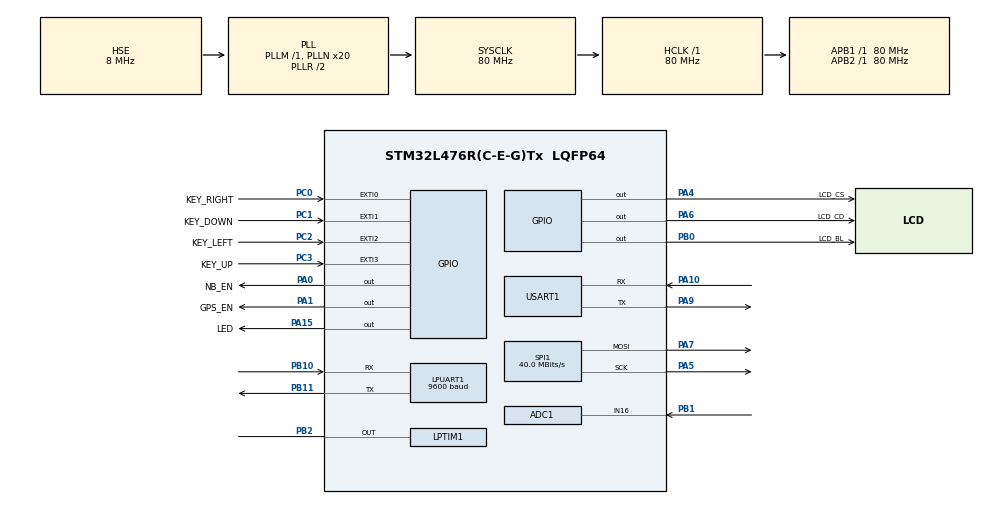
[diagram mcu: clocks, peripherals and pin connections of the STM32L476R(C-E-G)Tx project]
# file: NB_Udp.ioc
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ADC1.Channel-2\#ChannelRegularConversion=ADC_CHANNEL_16
ADC1.NbrOfConversionFlag=1
ADC1.OffsetNumber-2\#ChannelRegularConversion=ADC_OFFSET_NONE
ADC1.Rank-2\#ChannelRegularConversion=1
ADC1.SamplingTime-2\#ChannelRegularConversion=ADC_SAMPLETIME_2CYCLES_5
ADC1.master=1
Dma.LPUART_RX.0.Direction=DMA_PERIPH_TO_MEMORY
Dma.LPUART_RX.0.Instance=DMA2_Channel7
Dma.LPUART_RX.0.MemDataAlignment=DMA_MDATAALIGN_HALFWORD
Dma.LPUART_RX.0.MemInc=DMA_MINC_ENABLE
Dma.LPUART_RX.0.Mode=DMA_CIRCULAR
Dma.LPUART_RX.0.PeriphDataAlignment=DMA_PDATAALIGN_HALFWORD
Dma.LPUART_RX.0.PeriphInc=DMA_PINC_DISABLE
Dma.LPUART_RX.0.Priority=DMA_PRIORITY_LOW
Dma.LPUART_TX.1.Direction=DMA_MEMORY_TO_PERIPH
Dma.LPUART_TX.1.Instance=DMA2_Channel6
Dma.LPUART_TX.1.MemDataAlignment=DMA_MDATAALIGN_BYTE
Dma.LPUART_TX.1.MemInc=DMA_MINC_ENABLE
Dma.LPUART_TX.1.Mode=DMA_NORMAL
Dma.LPUART_TX.1.PeriphDataAlignment=DMA_PDATAALIGN_BYTE
Dma.LPUART_TX.1.PeriphInc=DMA_PINC_DISABLE
Dma.LPUART_TX.1.Priority=DMA_PRIORITY_LOW
Dma.Request0=LPUART_RX
Dma.Request1=LPUART_TX
LPUART1.BaudRate=9600
LPUART1.WordLength=UART_WORDLENGTH_8B
Mcu.Family=STM32L4
Mcu.Name=STM32L476R(C-E-G)Tx
Mcu.Package=LQFP64
NVIC.DMA2_Channel6_IRQn=true\:6\:0\:true\:false\:true\:false
NVIC.DMA2_Channel7_IRQn=true\:6\:0\:true\:false\:true\:false
NVIC.EXTI0_IRQn=true\:5\:0\:true\:false\:true\:true
NVIC.EXTI1_IRQn=true\:5\:0\:true\:false\:true\:true
NVIC.EXTI2_IRQn=true\:5\:0\:true\:false\:true\:true
NVIC.EXTI3_IRQn=true\:5\:0\:true\:false\:true\:true
NVIC.LPUART1_IRQn=true\:6\:0\:true\:false\:true\:true
NVIC.PriorityGroup=NVIC_PRIORITYGROUP_4
PA0.GPIO_Label=NB_EN
PA0.GPIO_PuPd=GPIO_PULLUP
PA0.Signal=GPIO_Output
PA1.GPIO_Label=GPS_EN
PA1.GPIO_PuPd=GPIO_PULLUP
PA1.PinState=GPIO_PIN_SET
PA1.Signal=GPIO_Output
PA10.Mode=Asynchronous
PA10.Signal=USART1_RX
PA13\ (JTMS-SWDIO).Mode=Serial_Wire
PA13\ (JTMS-SWDIO).Signal=SYS_JTMS-SWDIO
PA14\ (JTCK-SWCLK).Mode=Serial_Wire
PA14\ (JTCK-SWCLK).Signal=SYS_JTCK-SWCLK
PA15\ (JTDI).GPIO_Label=LED
PA15\ (JTDI).GPIO_PuPd=GPIO_PULLUP
PA15\ (JTDI).Signal=GPIO_Output
PA4.GPIO_Label=LCD_CS
PA4.GPIO_PuPd=GPIO_PULLUP
PA4.Signal=GPIO_Output
PA5.Mode=TX_Only_Simplex_Unidirect_Master
PA5.Signal=SPI1_SCK
PA6.GPIO_Label=LCD_CD
PA6.GPIO_PuPd=GPIO_PULLUP
PA6.PinState=GPIO_PIN_RESET
PA6.Signal=GPIO_Output
PA7.Mode=TX_Only_Simplex_Unidirect_Master
PA7.Signal=SPI1_MOSI
PA9.Mode=Asynchronous
PA9.Signal=USART1_TX
PB0.GPIO_Label=LCD_BL
PB0.GPIO_PuPd=GPIO_PULLUP
PB0.Signal=GPIO_Output
PB1.Signal=ADCx_IN16
PB10.Mode=Asynchronous
PB10.Signal=LPUART1_RX
PB11.Mode=Asynchronous
PB11.Signal=LPUART1_TX
PB2.Mode=WaveformGeneration
PB2.Signal=LPTIM1_OUT
PC0.GPIO_Label=KEY_RIGHT
PC0.GPIO_ModeDefaultEXTI=GPIO_MODE_IT_FALLING
PC0.GPIO_PuPd=GPIO_PULLUP
PC0.Signal=GPXTI0
PC1.GPIO_Label=KEY_DOWN
PC1.GPIO_ModeDefaultEXTI=GPIO_MODE_IT_FALLING
PC1.GPIO_PuPd=GPIO_PULLUP
PC1.Signal=GPXTI1
PC14-OSC32_IN\ (PC14).Mode=LSE-External-Oscillator
PC14-OSC32_IN\ (PC14).Signal=RCC_OSC32_IN
PC15-OSC32_OUT\ (PC15).Mode=LSE-External-Oscillator
PC15-OSC32_OUT\ (PC15).Signal=RCC_OSC32_OUT
PC2.GPIO_Label=KEY_LEFT
PC2.GPIO_ModeDefaultEXTI=GPIO_MODE_IT_FALLING
PC2.GPIO_PuPd=GPIO_PULLUP
PC2.Signal=GPXTI2
PC3.GPIO_Label=KEY_UP
PC3.GPIO_ModeDefaultEXTI=GPIO_MODE_IT_FALLING
PC3.GPIO_PuPd=GPIO_PULLUP
PC3.Signal=GPXTI3
PH0-OSC_IN\ (PH0).Mode=HSE-External-Oscillator
PH0-OSC_IN\ (PH0).Signal=RCC_OSC_IN
PH1-OSC_OUT\ (PH1).Mode=HSE-External-Oscillator
PH1-OSC_OUT\ (PH1).Signal=RCC_OSC_OUT
ProjectManager.HeapSize=0x1000
ProjectManager.StackSize=0x1000
ProjectManager.TargetToolchain=EWARM V7
RCC.ADCFreq_Value=32000000
RCC.AHBFreq_Value=80000000
RCC.APB1Freq_Value=80000000
RCC.APB1TimFreq_Value=80000000
RCC.APB2Freq_Value=80000000
RCC.APB2TimFreq_Value=80000000
RCC.CortexFreq_Value=80000000
RCC.HCLKFreq_Value=80000000
RCC.HSE_VALUE=8000000
RCC.HSI_VALUE=16000000
RCC.LPUART1CLockSelection=RCC_LPUART1CLKSOURCE_LSE
RCC.MSI_VALUE=4000000
RCC.PLLN=20
RCC.PLLSourceVirtual=RCC_PLLSOURCE_HSE
RCC.SYSCLKFreq_VALUE=80000000
RCC.SYSCLKSource=RCC_SYSCLKSOURCE_PLLCLK
RCC.USBFreq_Value=32000000
RCC.VCOOutputFreq_Value=160000000
SH.ADCx_IN16.0=ADC1_IN16,IN16-Single-Ended
SPI1.CalculateBaudRate=40.0 MBits/s
SPI1.DataSize=SPI_DATASIZE_8BIT
SPI1.Direction=SPI_DIRECTION_2LINES
SPI1.Mode=SPI_MODE_MASTER
SPI1.VirtualType=VM_MASTER
USART1.VirtualMode-Asynchronous=VM_ASYNC
USART1.WordLength=WORDLENGTH_8B
VP_LPTIM1_VS_LPTIM_counterModeInternalClock.Mode=Counts__internal_clock_event_00
board=NB_Attach_Detach

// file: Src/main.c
/**
  ******************************************************************************
  * File Name          : main.c
  * Description        : Main program body
  ******************************************************************************
  */

#include "main.h"
#include "stm32l4xx_hal.h"
#include "adc.h"
#include "dma.h"
#include "lptim.h"
#include "usart.h"
#include "spi.h"
#include "gpio.h"
#include "json_format.h"

/* USER CODE BEGIN Includes */
#include "Display.h"
#include "DisplayTFT128.h"
#include "TFT128.h"

#include "led_blink.h"
#include "key_handle.h"

#include "NB_Board.h"
#include "NB_BC95.h"
#include "NB_Board_Cfg.h"
#include "timer_user_poll.h"

/* USER CODE END Includes */

/* USER CODE BEGIN PV */
/* Private variables ---------------------------------------------------------*/

#define LCD_FIRST_LINE  2

#define LCD_LAST_LINE   7

#define JSON_BUF_LEN    100

typedef enum
{
  NB_NONE,
  NB_INIT,          // 初始化操作
  NB_MODULE,        // 获取NB模块厂商及固件，频段等信息
  NB_SIGN,
  NB_UDP_CR,        // 创建UDP
  NB_UDP_CL,        // 关闭UDP
  NB_UDP_REG,       // 此状态用于注册谷雨云平台信息（如果不与谷雨云平台通信，可忽略）
  NB_UDP_ST,        // 利用已经创建的UDP发送数据
  NB_UDP_RE,        // UDP接收信息
  NB_CoAP_SEVER,    // CoAP远程地址设置与获取
  NB_CoAP_ST,       // 利用CoAP发送消息
  NB_CoAP_RE,       // CoAP返回信息
  NB_RESET,         // 复位NB
  NB_END
}NB_STATE_e;

volatile NB_STATE_e  APP_STATE= NB_NONE;
int NB_MsgreportCb(msg_types_t,int ,char*);

uint8_t* NB_Module_IMEI = NULL;

//记录NB模块初始化流程顺序
#define  NB_SEQ_INIT        0x01
#define  NB_SEQ_UDP_CR      0X02
#define  NB_SET_UDP_REG     0x04

uint8_t  seq_record = 0; //标志登记变量

//管理json数据  光强数据
typedef struct
{
	char json_buf[JSON_BUF_LEN];  //用于存放json格式数据
	uint16_t json_len;            //有效数据长度
}json_info_t;

json_info_t json_info;

// 是否开启呼吸灯
uint8_t  is_rgb_pwm = 0;

/* USER CODE END PV */

void SystemClock_Config(void);

//******************************************************************************
// fn : isGetTempTime
//
// brief : 可以读取温度值吗
//
// param : none
//
// return : true -> yes; false -> wait
uint8_t isGetTempTime(void);
void App_setReport(void);
/* USER CODE BEGIN PFP */
/* Private function prototypes -----------------------------------------------*/
//******************************************************************************
// fn : AppKey_cb
//
// brief : 处理按键事件
//
// param : key -> 按钮按下标识
//
// return : none
void AppKey_cb(uint8_t key);
/* USER CODE END PFP */

/* USER CODE BEGIN 0 */
/* LCD Handle*/
Display_Handle  dispHandle;
/* LCD object */
LCD_Object lcdObject;

/* LCD hardware attribute structure */
const LCD_HWAttrs lcdHWAttrs = {
    .LCD_initCmd = &LCD_initCmd,
    .lcdModePin  = {LCD_CD_Pin,GPIOA},      /* LCD mode pin  */
    .lcdCsnPin   = {LCD_CS_Pin,GPIOA},       /* LCD CSn pin   */
    .spiIndex    = SPI1
};

/* LCD configuration structure */
const LCD_Config LCD_config = {
    .object  = &lcdObject,
    .hwAttrs = &lcdHWAttrs
};

/* Structures for tft1.44 */
DisplayTFT128_Object  displayTft128Object;

const DisplayTFT128_HWAttrs displayTft128HWattrs = {
    .lcdHandle = (LCD_Handle)& LCD_config,
    .powerPin  = {LCD_BL_Pin,GPIOB}
};

/* Array of displays */
const Display_Config Display_config[] =
{
  {
    .fxnTablePtr = &DisplayTFT128_fxnTable,
    .object      = &displayTft128Object,
    .hwAttrs     = &displayTft128HWattrs
  },

    { NULL, NULL, NULL } // Terminator
};
//******************************************************************************
// fn : LCD_Print
//
// brief : 向屏打印信息
//
// param : str -> 字符串格式
//         a   -> 参数
//
// return : none
void LCD_Print(char *str,char *a)
{
  static uint8_t line = LCD_FIRST_LINE;

  if(line > LCD_LAST_LINE)
  {
    Display_clearLines(dispHandle,LCD_FIRST_LINE,LCD_LAST_LINE);
    line = LCD_FIRST_LINE;
  }
  if(line < LCD_FIRST_LINE)
  {
    line = LCD_FIRST_LINE;
  }
  if(a == NULL)
  {
      Display_print0(dispHandle,line++,0,str);
  }
  else
  {
    Display_print1(dispHandle,line++,0,str,a);
  }

}

/* USER CODE END 0 */

int main(void)
{

  /* USER CODE BEGIN 1 */
  Color fontColor = GREEN;
  seq_record = 0;
  volatile uint16_t pwm_value = 0;
  volatile int16_t step = 0;
  /* USER CODE END 1 */

  /* MCU Configuration----------------------------------------------------------*/

  /* Reset of all peripherals, Initializes the Flash interface and the Systick. */
  HAL_Init();

  /* Configure the system clock */
  SystemClock_Config();

  /* Initialize all configured peripherals */
  MX_GPIO_Init();
  MX_DMA_Init();
  MX_LPUART1_UART_Init();
  MX_USART1_UART_Init();
  MX_SPI1_Init();
  MX_ADC1_Init();
  MX_LPTIM1_Init();

  /* USER CODE BEGIN 2 */

  Bsp_init();
  HAL_LedCtl_Init();
  dispHandle = Display_open(0,NULL);
  Display_control(dispHandle,CMD_FRONT_COLOR,&fontColor);
  //显示测试信息
  Display_print0(dispHandle,0,2,"Ghostyu NB");
  Display_print0(dispHandle,1,0,"Net:OFF");
  Display_print0(dispHandle,1,8,"---dbm");

  LCD_Print("S1 to Init NB",NULL);
  //打开串口接收
  KEY_RegisterCb(AppKey_cb);
  NBModule_open(&nb_config);
  APP_STATE = NB_NONE;
  // 设置呼吸灯
  HAL_LPTIM_PWM_Start(&hlptim1, 99,0);
  user_pwm_setvalue(99);
  /* USER CODE END 2 */

  /* Infinite loop */
  while (1)
  {

  /* USER CODE BEGIN 3 */
    HAL_UART_Poll();
    KEY_Poll();
    HAL_Led_poll();
    NBModule_Main(&nb_config);
    MX_TimerPoll();
    switch(APP_STATE)
    {
    case NB_NONE:
      {
        //wait for key

      }
      break;
    case NB_INIT:
      {
        printf("\r\n<----BC95 Init---->\r\n");
        LCD_Print("Init start...",NULL);
        seq_record = 0;
        NBModule_Init(&nb_config);
        APP_STATE = NB_END;
      }
      break;
    case NB_SIGN:
      {
         printf("\r\n<----BC95 get signal---->\r\n");
         NBModule_Sign(&nb_config);
         APP_STATE = NB_END;
      }
      break;
    case NB_MODULE:
      {
        printf("\r\n<----Module info ---->\r\n");
        LCD_Print("Module info...",NULL);
        NBModule_Info(&nb_config);
        APP_STATE = NB_END;
      }
      break;
    case NB_UDP_CR:
      {
        printf("\r\n<----Create udp ---->\r\n");
        LCD_Print("UDP Create...",NULL);
        NBModule_CreateUDP(&nb_config);
        APP_STATE = NB_END;
      }
      break;
    case NB_UDP_CL:
      {
        printf("\r\n<----Close udp ---->\r\n");
        NBModule_CloseUDP(&nb_config);
        APP_STATE = NB_END;
      }
      break;
    case NB_UDP_REG:
      {
        //发送注册包
        //如果不与谷雨云平台通信，则不需要发送注册包
        printf("\r\n<----NB registes to Cloud ---->\r\n");
        LCD_Print("Udp send...",NULL);

        char regPacket[30];
        uint8_t msgLen = 0;

        //利用库函数进行合格化数据
        msgLen = sprintf(regPacket,"ep=%s&pw=123456",NB_Module_IMEI);
        regPacket[msgLen] = 0;

        //char* regPacket = "ep=863703036005069&pw=123456";
        NBModule_SendData(&nb_config,msgLen,regPacket);
        seq_record |= NB_SET_UDP_REG;
        LCD_Print("S3 send UDP",NULL);
        APP_STATE = NB_END;
      }
      break;
    case NB_UDP_ST:
      {
        printf("\r\n<---- Send udp ---->\r\n");
        LCD_Print("Udp send...",NULL);

        if(json_info.json_len)
		{
            NBModule_SendData(&nb_config,json_info.json_len,json_info.json_buf);
		}

        APP_STATE = NB_END;
      }
      break;

    case NB_UDP_RE:
      {

      }
      break;
    default:
      {
      }
      break;
    }
    // 呼吸灯程序；
   if(is_rgb_pwm){
       HAL_Delay(10);
       if(pwm_value == 0) step = 1;
       if(pwm_value == 99) step = -1;
       pwm_value += step;
       user_pwm_setvalue(pwm_value);
    }
  }
  /* USER CODE END 3 */

}

/** System Clock Configuration
*/
void SystemClock_Config(void)
{

  RCC_OscInitTypeDef RCC_OscInitStruct;
  RCC_ClkInitTypeDef RCC_ClkInitStruct;
  RCC_PeriphCLKInitTypeDef PeriphClkInit;

    /**Configure LSE Drive Capability
    */
  __HAL_RCC_LSEDRIVE_CONFIG(RCC_LSEDRIVE_LOW);

    /**Initializes the CPU, AHB and APB busses clocks
    */
  RCC_OscInitStruct.OscillatorType = RCC_OSCILLATORTYPE_HSE|RCC_OSCILLATORTYPE_LSE;
  RCC_OscInitStruct.HSEState = RCC_HSE_ON;
  RCC_OscInitStruct.LSEState = RCC_LSE_ON;
  RCC_OscInitStruct.PLL.PLLState = RCC_PLL_ON;
  RCC_OscInitStruct.PLL.PLLSource = RCC_PLLSOURCE_HSE;
  RCC_OscInitStruct.PLL.PLLM = 1;
  RCC_OscInitStruct.PLL.PLLN = 20;
  RCC_OscInitStruct.PLL.PLLP = RCC_PLLP_DIV7;
  RCC_OscInitStruct.PLL.PLLQ = RCC_PLLQ_DIV2;
  RCC_OscInitStruct.PLL.PLLR = RCC_PLLR_DIV2;
  if (HAL_RCC_OscConfig(&RCC_OscInitStruct) != HAL_OK)
  {
    _Error_Handler(__FILE__, __LINE__);
  }

    /**Initializes the CPU, AHB and APB busses clocks
    */
  RCC_ClkInitStruct.ClockType = RCC_CLOCKTYPE_HCLK|RCC_CLOCKTYPE_SYSCLK
                              |RCC_CLOCKTYPE_PCLK1|RCC_CLOCKTYPE_PCLK2;
  RCC_ClkInitStruct.SYSCLKSource = RCC_SYSCLKSOURCE_PLLCLK;
  RCC_ClkInitStruct.AHBCLKDivider = RCC_SYSCLK_DIV1;
  RCC_ClkInitStruct.APB1CLKDivider = RCC_HCLK_DIV1;
  RCC_ClkInitStruct.APB2CLKDivider = RCC_HCLK_DIV1;

  if (HAL_RCC_ClockConfig(&RCC_ClkInitStruct, FLASH_LATENCY_3) != HAL_OK)
  {
    _Error_Handler(__FILE__, __LINE__);
  }

  PeriphClkInit.PeriphClockSelection = RCC_PERIPHCLK_USART1|RCC_PERIPHCLK_LPUART1
                              |RCC_PERIPHCLK_LPTIM1|RCC_PERIPHCLK_ADC;
  PeriphClkInit.Usart1ClockSelection = RCC_USART1CLKSOURCE_PCLK2;
  PeriphClkInit.Lpuart1ClockSelection = RCC_LPUART1CLKSOURCE_LSE;
  PeriphClkInit.Lptim1ClockSelection = RCC_LPTIM1CLKSOURCE_PCLK;
  PeriphClkInit.AdcClockSelection = RCC_ADCCLKSOURCE_PLLSAI1;
  PeriphClkInit.PLLSAI1.PLLSAI1Source = RCC_PLLSOURCE_HSE;
  PeriphClkInit.PLLSAI1.PLLSAI1M = 1;
  PeriphClkInit.PLLSAI1.PLLSAI1N = 8;
  PeriphClkInit.PLLSAI1.PLLSAI1P = RCC_PLLP_DIV7;
  PeriphClkInit.PLLSAI1.PLLSAI1Q = RCC_PLLQ_DIV2;
  PeriphClkInit.PLLSAI1.PLLSAI1R = RCC_PLLR_DIV2;
  PeriphClkInit.PLLSAI1.PLLSAI1ClockOut = RCC_PLLSAI1_ADC1CLK;
  if (HAL_RCCEx_PeriphCLKConfig(&PeriphClkInit) != HAL_OK)
  {
    _Error_Handler(__FILE__, __LINE__);
  }

    /**Configure the main internal regulator output voltage
    */
  if (HAL_PWREx_ControlVoltageScaling(PWR_REGULATOR_VOLTAGE_SCALE1) != HAL_OK)
  {
    _Error_Handler(__FILE__, __LINE__);
  }

    /**Configure the Systick interrupt time
    */
  HAL_SYSTICK_Config(HAL_RCC_GetHCLKFreq()/1000);

    /**Configure the Systick
    */
  HAL_SYSTICK_CLKSourceConfig(SYSTICK_CLKSOURCE_HCLK);

  /* SysTick_IRQn interrupt configuration */
  HAL_NVIC_SetPriority(SysTick_IRQn, 0, 0);
}

/* USER CODE BEGIN 4 */

//******************************************************************************
// fn : isGetTempTime
//
// brief : 可以读取温度值吗
//
// param : none
//
// return : true -> yes; false -> wait
uint8_t isGetTempTime(void)
{
  static uint32_t start_tick = 0;
  uint32_t cur_tick = 0;
  uint8_t  readFlag = 0;

	//定时3秒
  cur_tick = HAL_GetTick();
  if(cur_tick >= start_tick )
  {
    if(cur_tick - start_tick >= 3000)
    {
      readFlag = 1;
    }
    else
    {
      readFlag = 0;
    }
  }
  else
  {
    if((UINT32_MAX - start_tick + cur_tick) >= 3000)
    {
      readFlag = 1;
    }
    else
    {
      readFlag = 0;
    }
  }

  if(readFlag)
  {
    start_tick = cur_tick;
  }
  return readFlag;
}
//******************************************************************************
// fn : App_setReport
//
// brief : 设置发送状态
//
// param : none
//
// return : none
void App_setReport(void){
    float temp = 0.0;
    if(isGetTempTime())
	{
        temp = HAL_ADC_Read();
		json_info.json_len = JSON_Ad_value(json_info.json_buf,temp);
		Display_print1(dispHandle,2,0,"Temp = %0.1fC   ",temp);
        APP_STATE = NB_UDP_ST;   //置udp发送
    }
}

//******************************************************************************
// fn : AppKey_cb
//
// brief : 处理按键事件
//
// param : key -> 按钮按下标识
//
// return : none
void AppKey_cb(uint8_t key)
{
  //闪烁LED,增加交互性
 HAL_LED_SET(LED_INDEX_2,1);
  if(key & KEY_UP)
  {
    printf("key_up press\r\n");
    APP_STATE = NB_INIT;
  }
  if(key & KEY_LEFT)
  {
    printf("key_left press\r\n");
    if(seq_record & NB_SEQ_INIT)
    {
      APP_STATE = NB_MODULE;
    }
  }
  if(key & KEY_DOWN)
  {
    printf("key_down press\r\n");
    if(seq_record & NB_SEQ_INIT)  //只有初始化成功，才能进行UDP创建工作
    {
      if(seq_record & NB_SEQ_UDP_CR)
      {
        if(seq_record & NB_SET_UDP_REG )
        {
          App_setReport();
          //APP_STATE = NB_UDP_ST;
        }
      }
      else
      {
        APP_STATE = NB_UDP_CR;
      }
    }
  }
  if(key & KEY_RIGHT)
  {
    printf("key_right press\r\n");
    if(seq_record & NB_SEQ_UDP_CR)
    {
      //表示UDP已经创建好，可以进行数据收发工作

      APP_STATE = NB_UDP_REG;

    }
    else
    {
      //给出提示
      LCD_Print("S3 Create UDP",NULL);
    }

  }
}

//******************************************************************************
// fn : NB_MsgreportCb
//
// brief : NB模块消息上报回调
//
// param :
//
// return : none
int  NB_MsgreportCb(msg_types_t types,int len,char* msg)
{
  volatile uint16_t pwm_values = 0;
  switch(types)
  {
  case MSG_INIT:
    {
      printf("\r\nINIT=%s\r\n",msg);
      LCD_Print("Init=%s",msg);
      if(*msg == 'S')
      {
        HAL_LED_SET(LED_INDEX_1,0);
        Display_print0(dispHandle,1,0,"NET=ON");
        APP_STATE = NB_SIGN;
        seq_record |= NB_SEQ_INIT;  //记录初始化成功
        LCD_Print("S2 to get info",NULL);
        LCD_Print("S3 to Create UDP",NULL);
      }
      else
      {
        printf("Reinit NB with S1\r\n");
         LCD_Print("Reinit NB...",NULL);
      }
    }
    break;
  case MSG_IMSI:
    {
      printf("\r\nIMSI=%s\r\n",msg);
      LCD_Print(msg,NULL);
    }
    break;
  case MSG_REG:
    {
      Display_print1(dispHandle,1,0,"NET=%s",(*msg) == 1 ?"ON":"0FF");
    }
    break;
  case MSG_SIGN:
    {
      Display_print1(dispHandle,1,8,"%sdbm",msg);
    }
    break;
  case MSG_MODULE_INFO:
    {
      printf("\r\nMinfo=%s\r\n",msg);
      LCD_Print("Info=%s",msg);
    }
    break;
  case MSG_MID:
    {
      printf("\r\nMID=%s\r\n",msg);
      LCD_Print(msg,NULL);
    }
    break;
  case MSG_MMODEL:
    {
      printf("\r\nModel=%s\r\n",msg);
      LCD_Print(msg,NULL);
    }
    break;
  case MSG_MREV:
    {
      printf("\r\nREV=%s\r\n",msg);
      LCD_Print(msg,NULL);
    }
    break;
  case MSG_BAND:
    {
      printf("\r\nFreq=%s\r\n",msg);
      LCD_Print("Freq=%s",msg);
    }
    break;
  case MSG_IMEI:
    {
      printf("\r\nIMEI=%s\r\n",msg);
      //保存IMEI信息
      NB_Module_IMEI = (uint8_t*)msg;
      LCD_Print(msg,NULL);
    }
    break;
  case MSG_UDP_CREATE:
    {
      printf("\r\nUDP_CR=%s\r\n",msg);
      LCD_Print("UDP=%s",msg);
      if(*msg == 'S')  //"S" 表示创建成功，'F'表示失败
      {
        seq_record |= NB_SEQ_UDP_CR;  //记录初始化成功

        printf("S4 to register iotxx Cloud\r\n");
        LCD_Print("S4 reg Packet",NULL);
      }
      else
      {
        printf("Please, recreate udp\r\n");
        LCD_Print("Recreate UDP",NULL);
      }
    }
    break;
  case MSG_UDP_CLOSE:
    {
      printf("\r\nUDP_CL=%s\r\n",msg);

      if(*msg == 'S')
      {
        //清除UDP 创建成功标志
        seq_record &= ~NB_SEQ_UDP_CR;
      }
    }
    break;
  case MSG_UDP_SEND:
    {
      printf("\r\nUDP_SEND=%s\r\n",msg);
      LCD_Print("Send=%s",msg);
    }
    break;
  case MSG_UDP_RECE:
    {
      printf("\r\nUDP_RECE=%s\r\n",msg);
      LCD_Print(msg,NULL);
      if(msg[0] == 'C' || msg[0] == 'c' || sizeof(msg) == 2){
          if(msg[1] == '1')
            {
                LCD_Print("lamp open",NULL);
                is_rgb_pwm = 1;
            }else if (msg[1] == '0'){
                LCD_Print("lamp close",NULL);
                is_rgb_pwm = 0;
                user_pwm_setvalue(97);
            }
      }else if (msg[0] == 'S' || msg[0] == 's'){
        if(sizeof(msg) == 3){
            is_rgb_pwm = 0;
          user_pwm_setvalue(99);
          pwm_values = msg[1]-48;
          printf("\r\nssssssss %d\r\n",pwm_values);
          user_pwm_setvalue(pwm_values);
        }else if(sizeof(msg) == 4){
          is_rgb_pwm = 0;
          user_pwm_setvalue(99);
          uint16_t aa = msg[1]-48;
          uint16_t bb = msg[2]-48;
          printf("\r\nssssssss %d\r\n",pwm_values);
          pwm_values = aa+aa+aa+aa+aa+aa+aa+aa+aa+aa+bb;
          printf("\r\nssssssss %d\r\n",aa);
          printf("\r\nssssssss %d\r\n",bb);
          printf("\r\nssssssss %d\r\n",pwm_values);
          user_pwm_setvalue(pwm_values);
        }

      }
    }
    break;
  case MSG_COAP:
    {
      printf("\r\nCOAP=%s\r\n",msg);
    }
    break;
  case MSG_COAP_SEND:
    {
      printf("\r\nCOAP_SENT=%s\r\n",msg);
    }
    break;

  case MSG_COAP_RECE:
    {
      printf("\r\nCOAP_RECE=%s\r\n",msg);
    }
    break;
  default :
    {
      break;
    }
  }
  return 0;
}
/* USER CODE END 4 */

void _Error_Handler(char * file, int line)
{
  while(1)
  {
  }
}

/************************ (C) COPYRIGHT STMicroelectronics *****END OF FILE****/
